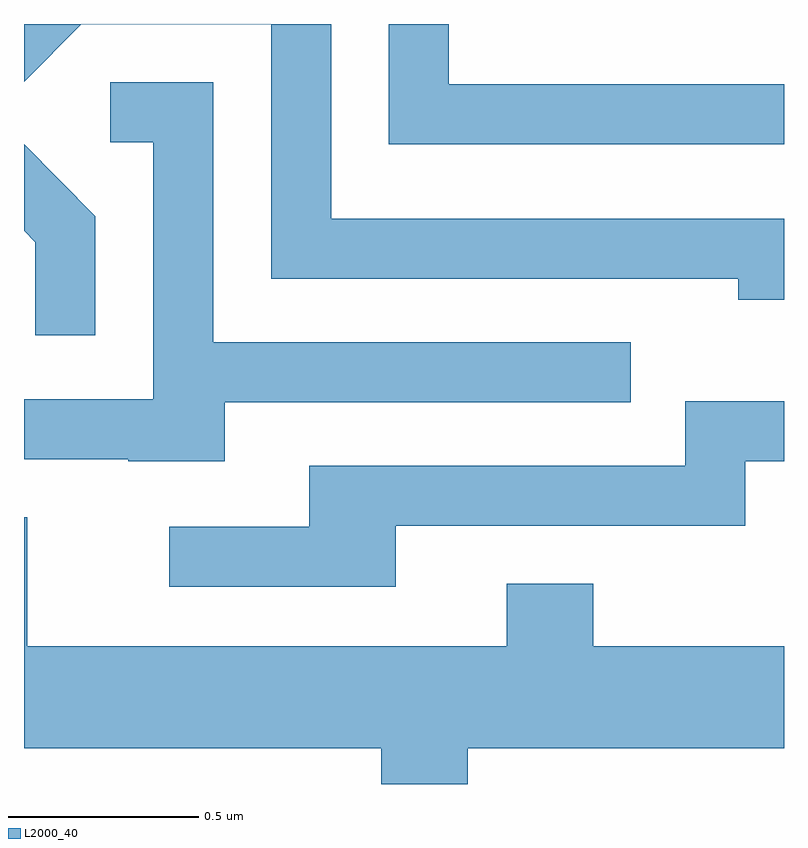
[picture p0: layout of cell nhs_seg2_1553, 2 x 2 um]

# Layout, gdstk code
import gdstk
lib = gdstk.Library(unit=1e-6, precision=1e-09)
def P(c, l, *ps):  # polygons
    for p in ps: c.add(gdstk.Polygon(p, *l))
L2000_40 = (2000, 40)

nhs_seg2_1553 = lib.new_cell('nhs_seg2_1553')
P(nhs_seg2_1553, L2000_40, [(198.611,1025.289),(197.419,1025.289),(197.419,1025.802),(196.611,1025.802),(196.611,1025.65),(196.762,1025.801),(197.261,1025.801),(197.261,1025.131),(198.491,1025.131),(198.491,1025.076),(198.611,1025.076)],
  [(198.611,1025.644),(197.729,1025.644),(197.729,1025.802),(197.571,1025.802),(197.571,1025.486),(198.611,1025.486)],
  [(197.139,1024.806),(198.208,1024.806),(198.208,1024.964),(197.109,1024.964),(197.109,1025.649),(196.838,1025.649),(196.838,1025.491),(196.951,1025.491),(196.951,1024.814),(196.611,1024.814),(196.611,1024.656),(196.885,1024.656),(196.885,1024.651),(197.139,1024.651)],
  [(196.799,1025.296),(196.611,1025.485),(196.611,1025.258),(196.641,1025.228),(196.641,1024.983),(196.799,1024.983)],
  [(197.589,1024.481),(198.509,1024.481),(198.509,1024.651),(198.611,1024.651),(198.611,1024.809),(198.351,1024.809),(198.351,1024.639),(197.361,1024.639),(197.361,1024.479),(196.993,1024.479),(196.993,1024.321),(197.589,1024.321)],
  [(197.779,1023.896),(198.611,1023.896),(198.611,1024.164),(198.109,1024.164),(198.109,1024.329),(197.881,1024.329),(197.881,1024.164),(196.619,1024.164),(196.619,1024.504),(196.611,1024.504),(196.611,1023.896),(197.551,1023.896),(197.551,1023.802),(197.779,1023.802)])

lib.write_gds('nhs_seg2_1553.gds')
